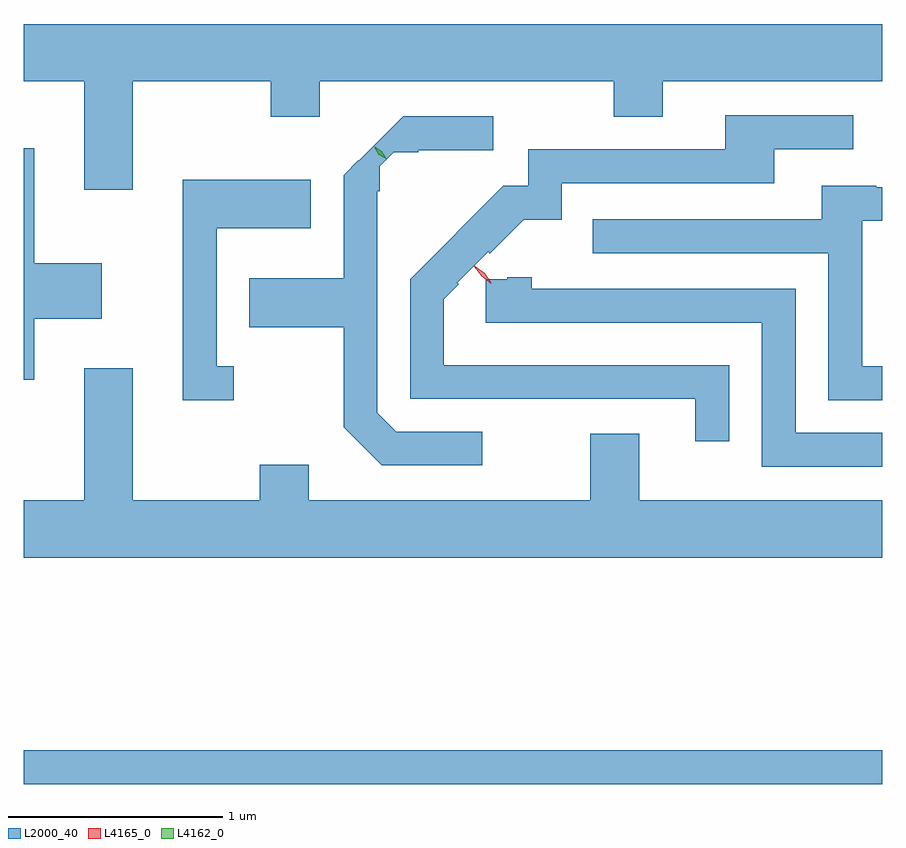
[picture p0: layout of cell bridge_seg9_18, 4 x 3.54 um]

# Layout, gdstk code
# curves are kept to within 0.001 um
import gdstk
lib = gdstk.Library(unit=1e-6, precision=1e-09)
def R(c, l, rs):  # rectangles x0, y0, x1, y1
    for r in rs: c.add(gdstk.rectangle(r[:2], r[2:], *l))
def P(c, l, *ps):  # polygons
    for p in ps: c.add(gdstk.Polygon(p, *l))
L2000_40 = (2000, 40)
L4162_0 = (4162, 0)
L4165_0 = (4165, 0)

bridge_seg9_18 = lib.new_cell('bridge_seg9_18')
R(bridge_seg9_18, L2000_40, [(1904.921,2015.181,1908.921,2015.339)])
P(bridge_seg9_18, L2000_40, [(1905.429,2018.456),(1906.071,2018.456),(1906.071,2018.291),(1906.299,2018.291),(1906.299,2018.456),(1907.671,2018.456),(1907.671,2018.291),(1907.899,2018.291),(1907.899,2018.456),(1908.921,2018.456),(1908.921,2018.724),(1904.921,2018.724),(1904.921,2018.456),(1905.201,2018.456),(1905.201,2017.951),(1905.429,2017.951)],
  [(1908.209,2017.134),(1906.879,2017.134),(1906.879,2017.441),(1906.948,2017.51),(1906.941,2017.517),(1907.085,2017.662),(1907.092,2017.654),(1907.251,2017.811),(1907.429,2017.811),(1907.429,2017.981),(1908.419,2017.981),(1908.419,2018.141),(1908.788,2018.141),(1908.788,2018.299),(1908.191,2018.299),(1908.191,2018.139),(1907.271,2018.139),(1907.271,2017.969),(1907.156,2017.969),(1906.721,2017.535),(1906.721,2016.976),(1908.051,2016.976),(1908.051,2016.778),(1908.209,2016.778)],
  [(1907.058,2016.824),(1906.657,2016.824),(1906.569,2016.912),(1906.569,2017.945),(1906.58,2017.945),(1906.58,2018.06),(1906.645,2018.125),(1906.76,2018.125),(1906.76,2018.136),(1907.108,2018.136),(1907.108,2018.294),(1906.69,2018.294),(1906.619,2018.223),(1906.618,2018.224),(1906.482,2018.087),(1906.48,2018.089),(1906.411,2018.02),(1906.411,2017.539),(1905.971,2017.539),(1905.971,2017.311),(1906.411,2017.311),(1906.411,2016.844),(1906.589,2016.666),(1907.058,2016.666)],
  [(1904.969,2017.351),(1905.284,2017.351),(1905.284,2017.609),(1904.969,2017.609),(1904.969,2018.144),(1904.921,2018.144),(1904.921,2017.066),(1904.969,2017.066)],
  [(1905.898,2017.129),(1905.819,2017.129),(1905.819,2017.771),(1906.259,2017.771),(1906.259,2017.999),(1905.661,2017.999),(1905.661,2016.971),(1905.898,2016.971)],
  [(1908.921,2017.129),(1908.829,2017.129),(1908.829,2017.806),(1908.921,2017.806),(1908.921,2017.964),(1908.895,2017.964),(1908.895,2017.969),(1908.641,2017.969),(1908.641,2017.814),(1907.573,2017.814),(1907.573,2017.656),(1908.671,2017.656),(1908.671,2016.971),(1908.921,2016.971)],
  [(1908.921,2016.819),(1908.519,2016.819),(1908.519,2017.489),(1907.289,2017.489),(1907.289,2017.544),(1907.175,2017.544),(1907.175,2017.533),(1907.073,2017.533),(1907.073,2017.331),(1908.361,2017.331),(1908.361,2016.661),(1908.921,2016.661)],
  [(1908.921,2016.504),(1907.789,2016.504),(1907.789,2016.814),(1907.561,2016.814),(1907.561,2016.504),(1906.249,2016.504),(1906.249,2016.669),(1906.021,2016.669),(1906.021,2016.504),(1905.429,2016.504),(1905.429,2017.119),(1905.201,2017.119),(1905.201,2016.504),(1904.921,2016.504),(1904.921,2016.236),(1908.921,2016.236)])
P(bridge_seg9_18, L4162_0, [(1906.612,2018.094),(1906.576,2018.117),(1906.554,2018.154),(1906.554,2018.154),(1906.555,2018.154),(1906.59,2018.131),(1906.613,2018.094),(1906.613,2018.094)],
  [(1906.606,2018.097),(1906.574,2018.115),(1906.556,2018.146),(1906.556,2018.147),(1906.557,2018.147),(1906.588,2018.129),(1906.606,2018.097),(1906.606,2018.097)])
P(bridge_seg9_18, L4165_0, [(1907.1,2017.513),(1907.054,2017.547),(1907.021,2017.593),(1907.021,2017.594),(1907.022,2017.594),(1907.068,2017.56),(1907.1,2017.514),(1907.1,2017.513)],
  [(1907.1,2017.517),(1907.055,2017.548),(1907.024,2017.593),(1907.024,2017.594),(1907.025,2017.594),(1907.07,2017.562),(1907.1,2017.518),(1907.1,2017.517)])

lib.write_gds('bridge_seg9_18.gds')
